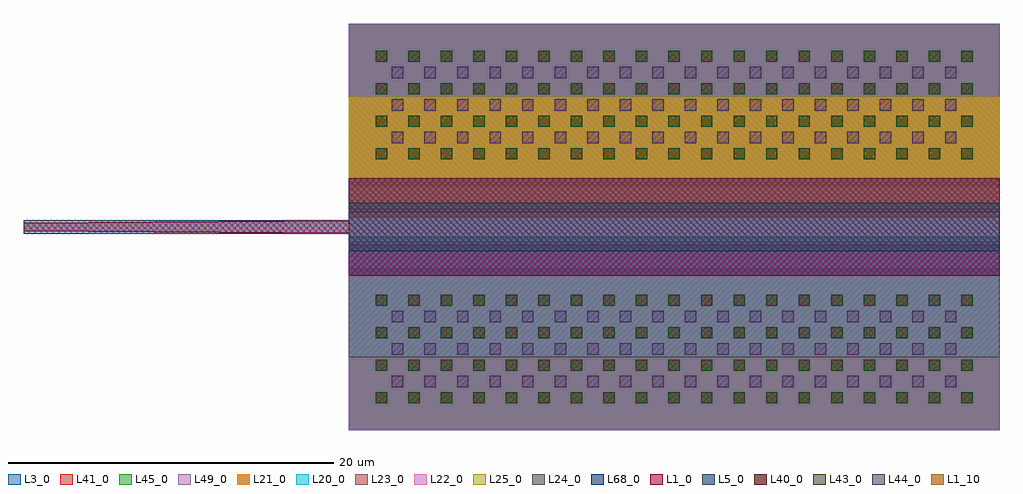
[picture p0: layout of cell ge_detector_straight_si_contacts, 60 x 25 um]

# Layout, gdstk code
import gdstk
lib = gdstk.Library(unit=1e-6, precision=1e-09)
def R(c, l, rs):  # rectangles x0, y0, x1, y1
    for r in rs: c.add(gdstk.rectangle(r[:2], r[2:], *l))
def P(c, l, *ps):  # polygons
    for p in ps: c.add(gdstk.Polygon(p, *l))
L1_0 = (1, 0)
L1_10 = (1, 10)
L3_0 = (3, 0)
L5_0 = (5, 0)
L20_0 = (20, 0)
L21_0 = (21, 0)
L22_0 = (22, 0)
L23_0 = (23, 0)
L24_0 = (24, 0)
L25_0 = (25, 0)
L40_0 = (40, 0)
L41_0 = (41, 0)
L43_0 = (43, 0)
L44_0 = (44, 0)
L45_0 = (45, 0)
L49_0 = (49, 0)
L68_0 = (68, 0)

straight_a1c22293 = lib.new_cell('straight_a1c22293')
R(straight_a1c22293, L1_0, [(0,-3,40,3)])
R(straight_a1c22293, L5_0, [(0,-1.5,40,1.5)])
R(straight_a1c22293, L20_0, [(0,-8,40,-0.6)])
R(straight_a1c22293, L21_0, [(0,0.6,40,8)])
R(straight_a1c22293, L22_0, [(0,-8,40,-0.9)])
R(straight_a1c22293, L23_0, [(0,0.9,40,8)])
R(straight_a1c22293, L24_0, [(0,-8,40,-1.1)])
R(straight_a1c22293, L25_0, [(0,1.1,40,8)])
R(straight_a1c22293, L68_0, [(0,-3,40,3)])

taper_length20p0_width20 = lib.new_cell('taper_length20p0_width20p8')
P(taper_length20p0_width20, L1_0, [(0,0.25),(20,0.4),(20,-0.4),(0,-0.25)])
R(taper_length20p0_width20, L68_0, [(0,-0.4,20,0.4)])
taper_length20p0_width20.add(gdstk.FlexPath([(0.001,0),(-0.001,0)], 0.5, ends="flush", simple_path=True, layer=1, datatype=10))  # L1_10
taper_length20p0_width20.add(gdstk.FlexPath([(19.999,0),(20.001,0)], 0.8, ends="flush", simple_path=True, layer=1, datatype=10))  # L1_10
taper_length20p0_width20.add(gdstk.Label('o1', (0,0), layer=1, texttype=10))
taper_length20p0_width20.add(gdstk.Label('o2', (20,0), layer=1, texttype=10))

compass_79cf4a12 = lib.new_cell('compass_79cf4a12')
R(compass_79cf4a12, L3_0, [(-20,-5,20,5)])

compass_e10ba6f1 = lib.new_cell('compass_e10ba6f1')
R(compass_e10ba6f1, L41_0, [(-20,-5,20,5)])

compass_7b8dbd22 = lib.new_cell('compass_7b8dbd22')
R(compass_7b8dbd22, L45_0, [(-20,-5,20,5)])

compass_1d456e42 = lib.new_cell('compass_1d456e42')
R(compass_1d456e42, L49_0, [(-20,-5,20,5)])

via = lib.new_cell('via')
R(via, L40_0, [(-0.35,-0.35,0.35,0.35)])

via_enclosure2_layervia1 = lib.new_cell('via_enclosure2_layerVIA1')
R(via_enclosure2_layervia1, L44_0, [(-0.35,-0.35,0.35,0.35)])

via_layervia2 = lib.new_cell('via_layerVIA2')
R(via_layervia2, L43_0, [(-0.35,-0.35,0.35,0.35)])

via_stack_e27b4a81 = lib.new_cell('via_stack_e27b4a81')
via_stack_e27b4a81.add(gdstk.Reference(compass_79cf4a12, (0,0)))
via_stack_e27b4a81.add(gdstk.Reference(compass_e10ba6f1, (0,0)))
via_stack_e27b4a81.add(gdstk.Reference(compass_7b8dbd22, (0,0)))
via_stack_e27b4a81.add(gdstk.Reference(compass_1d456e42, (0,0)))
r = gdstk.Reference(via, (-18,-3)); r.repetition = gdstk.Repetition(19, 4, v1=(2,0), v2=(0,2)); via_stack_e27b4a81.add(r)
r = gdstk.Reference(via_enclosure2_layervia1, (-17,-2)); r.repetition = gdstk.Repetition(18, 3, v1=(2,0), v2=(0,2)); via_stack_e27b4a81.add(r)
r = gdstk.Reference(via_layervia2, (-18,-3)); r.repetition = gdstk.Repetition(19, 4, v1=(2,0), v2=(0,2)); via_stack_e27b4a81.add(r)

ge_detector_straight_si_ = lib.new_cell('ge_detector_straight_si_contacts')
ge_detector_straight_si_.add(gdstk.Reference(straight_a1c22293, (0,0)))
ge_detector_straight_si_.add(gdstk.Reference(taper_length20p0_width20, (-20,0)))
ge_detector_straight_si_.add(gdstk.Reference(via_stack_e27b4a81, (20,7.5)))
ge_detector_straight_si_.add(gdstk.Reference(via_stack_e27b4a81, (20,-7.5)))

lib.write_gds('ge_detector_straight_si_contacts.gds')
